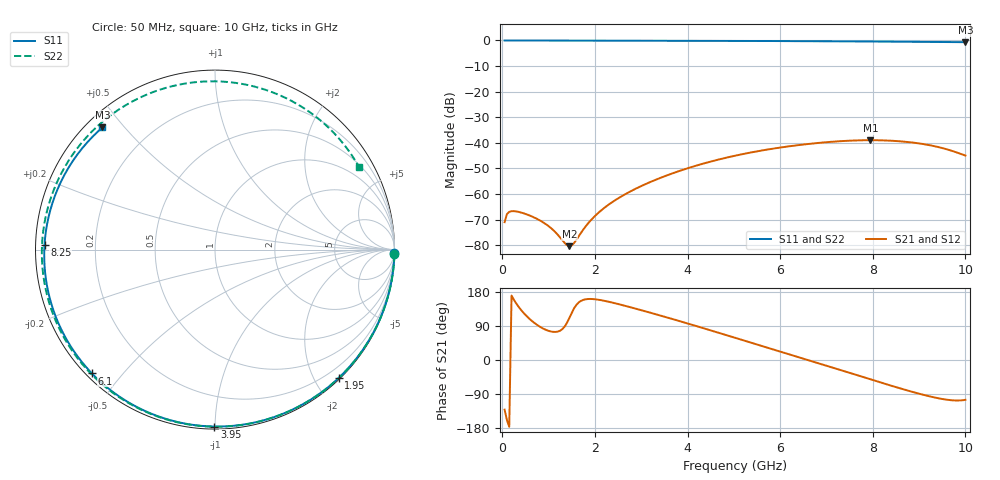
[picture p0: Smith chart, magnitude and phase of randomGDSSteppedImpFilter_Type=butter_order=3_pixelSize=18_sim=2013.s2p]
! freq	dB(S11)	phase(S11)	dB(S12)	phase(S12)
!  dB(S21)	phase(S21)	dB(S22)	phase(S22)
!S-par simulation data
#  GHz  S  DB  R 50
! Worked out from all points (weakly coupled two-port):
!   200 points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, 50 MHz to 10 GHz, reference 50 ohm
!   highest |S21| = -38.95 dB at 7.95 GHz (marker M1); lowest = -80.3 dB at 1.45 GHz (marker M2)
!   lowest |S11| = -0.7 dB at 10 GHz (marker M3), VSWR 25.83, Z = 2.31 + j21.9 ohm
!   |S11| at or under -10 dB: nowhere
!   |S22| runs from -0.7 to 0.0 dB; largest |S21 - S12| = 0
!   S11 on the Smith chart (normalised r, x): 50 MHz: 0, -94; 1.95 GHz: 0.02, -2.35; 3.95 GHz: 0.01, -1.00; 6.1 GHz: 0.02, -0.42; 8.25 GHz: 0.03, +0.01; 10 GHz: 0.05, +0.44
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0.05  -0.00 -1.2  -70.98 -131.2  -70.98 -131.2  -0.00 -1.5
0.1  -0.00 -2.4  -67.83 -158.4  -67.83 -158.4  -0.00 -3.1
0.15  -0.00 -3.6  -66.95 -176.4  -66.95 -176.4  -0.00 -4.6
0.5  -0.01 -12.1  -67.75 119.0  -67.75 119.0  -0.01 -15.4
0.95  -0.03 -22.8  -71.87 79.2  -71.87 79.2  -0.03 -29.1
1.45  -0.04 -34.6  -80.35 111.6  -80.35 111.6  -0.05 -44.0
1.55  -0.05 -36.9  -79.12 136.6  -79.12 136.6  -0.06 -46.9
1.75  -0.05 -41.5  -73.83 158.7  -73.83 158.7  -0.07 -52.8
1.95  -0.06 -46.1  -69.49 160.9  -69.49 160.9  -0.07 -58.7
2.55  -0.08 -59.7  -61.14 146.2  -61.14 146.2  -0.10 -75.9
3.4  -0.10 -78.5  -53.77 117.8  -53.77 117.8  -0.13 -99.6
3.95  -0.12 -90.2  -50.22 98.3  -50.22 98.3  -0.15 -114.7
5.05  -0.17 -113.2  -44.92 57.7  -44.92 57.7  -0.22 -144.9
6.1  -0.24 -134.8  -41.57 18.7  -41.57 18.7  -0.30 -175.3
6.7  -0.29 -147.3  -40.25 -3.6  -40.25 -3.6  -0.36 165.9
7.35  -0.35 -161.2  -39.28 -28.1  -39.28 -28.1  -0.42 143.7
7.95  -0.41 -174.6  -38.95 -50.9  -38.95 -50.9  -0.48 121.2
8.25  -0.44 178.5  -39.04 -62.3  -39.04 -62.3  -0.52 109.1
8.35  -0.46 176.1  -39.12 -66.0  -39.12 -66.0  -0.53 104.9
8.75  -0.51 166.4  -39.66 -80.5  -39.66 -80.5  -0.57 87.7
9.15  -0.56 156.2  -40.65 -93.6  -40.65 -93.6  -0.60 69.6
10  -0.67 132.6  -44.95 -105.1  -44.95 -105.1  -0.68 29.9
